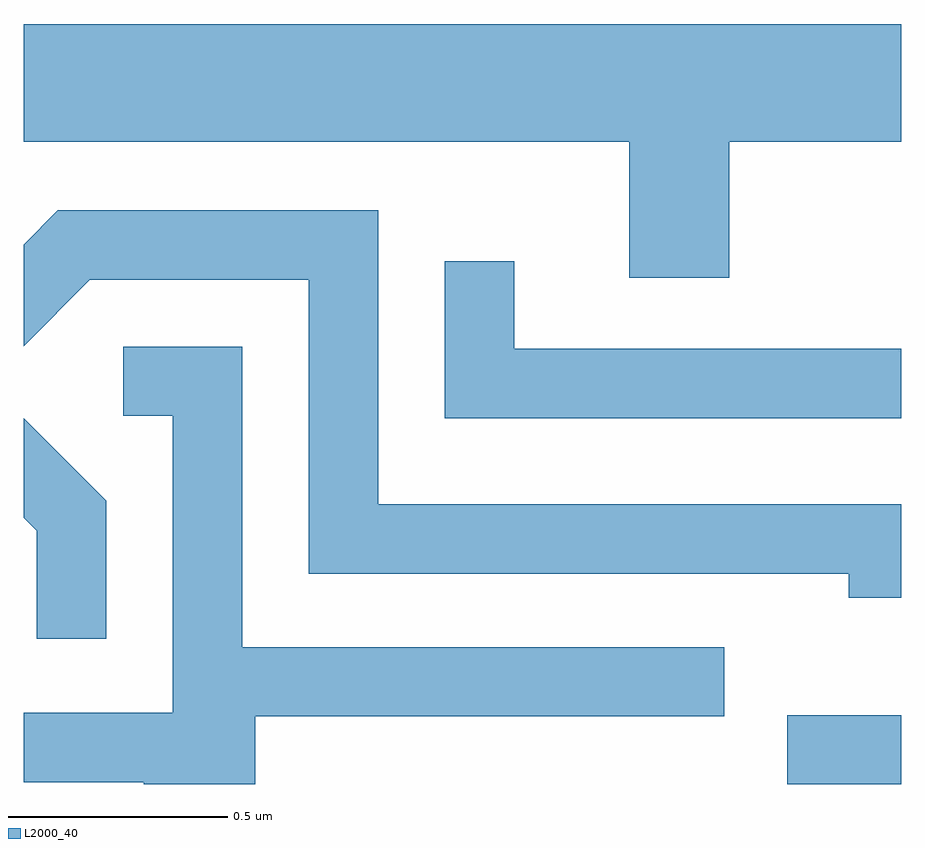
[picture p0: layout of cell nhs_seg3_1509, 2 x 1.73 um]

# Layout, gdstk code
import gdstk
lib = gdstk.Library(unit=1e-6, precision=1e-09)
def R(c, l, rs):  # rectangles x0, y0, x1, y1
    for r in rs: c.add(gdstk.rectangle(r[:2], r[2:], *l))
def P(c, l, *ps):  # polygons
    for p in ps: c.add(gdstk.Polygon(p, *l))
L2000_40 = (2000, 40)

nhs_seg3_1509 = lib.new_cell('nhs_seg3_1509')
R(nhs_seg3_1509, L2000_40, [(198.351,1117.892,198.611,1118.049)])
P(nhs_seg3_1509, L2000_40, [(198.219,1119.356),(198.611,1119.356),(198.611,1119.624),(196.611,1119.624),(196.611,1119.356),(197.991,1119.356),(197.991,1119.046),(198.219,1119.046)],
  [(198.611,1118.529),(197.419,1118.529),(197.419,1119.199),(196.689,1119.199),(196.611,1119.121),(196.611,1118.89),(196.762,1119.041),(197.261,1119.041),(197.261,1118.371),(198.491,1118.371),(198.491,1118.316),(198.611,1118.316)],
  [(198.611,1118.884),(197.729,1118.884),(197.729,1119.083),(197.571,1119.083),(197.571,1118.726),(198.611,1118.726)],
  [(197.139,1118.046),(198.208,1118.046),(198.208,1118.204),(197.109,1118.204),(197.109,1118.889),(196.838,1118.889),(196.838,1118.731),(196.951,1118.731),(196.951,1118.054),(196.611,1118.054),(196.611,1117.896),(196.885,1117.896),(196.885,1117.892),(197.139,1117.892)],
  [(196.799,1118.537),(196.611,1118.725),(196.611,1118.499),(196.641,1118.469),(196.641,1118.223),(196.799,1118.223)])

lib.write_gds('nhs_seg3_1509.gds')
